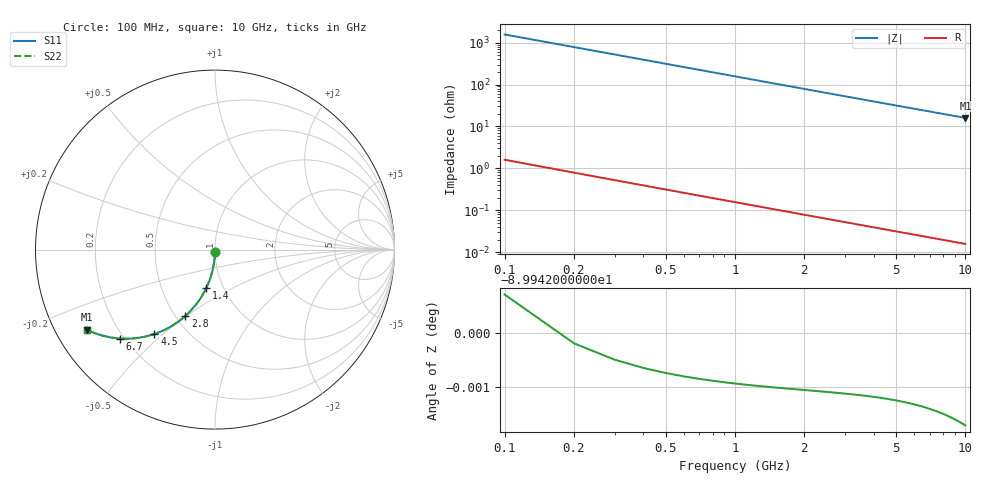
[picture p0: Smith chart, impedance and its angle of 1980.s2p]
# Hz S RI R 50.00
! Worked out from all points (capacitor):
!   100 points, 100 MHz to 10 GHz, reference 50 ohm
!   read as one part in shunt: C = 1.02 pF near 100 MHz
!   lowest |Z| = 16 ohm at 10 GHz (marker M1)
!   S11 on the Smith chart (normalised r, x): 100 MHz: 1.00, -0.03; 1.4 GHz: 0.83, -0.37; 2.8 GHz: 0.56, -0.49; 4.5 GHz: 0.33, -0.47; 6.7 GHz: 0.18, -0.38; 10 GHz: 0.09, -0.29
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1e8  -0.000264 -0.0159  0.9997 -0.016  0.9997 -0.016  -0.000264 -0.0159
2e8  -0.00104 -0.0318  0.9989 -0.032  0.9989 -0.032  -0.00104 -0.0318
3e8  -0.00233 -0.0477  0.9977 -0.048  0.9977 -0.048  -0.00233 -0.0477
4e8  -0.00412 -0.0634  0.9959 -0.0638  0.9959 -0.0638  -0.00412 -0.0634
5e8  -0.00641 -0.0791  0.9936 -0.0796  0.9936 -0.0796  -0.00641 -0.0791
6e8  -0.00918 -0.0946  0.9908 -0.0952  0.9908 -0.0952  -0.00918 -0.0946
7e8  -0.0124 -0.11  0.9875 -0.1107  0.9875 -0.1107  -0.0124 -0.11
9e8  -0.0203 -0.1403  0.9796 -0.1412  0.9796 -0.1412  -0.0203 -0.1403
1.1e9  -0.03 -0.1697  0.9699 -0.1708  0.9699 -0.1708  -0.03 -0.1697
1.4e9  -0.0477 -0.2119  0.9523 -0.2133  0.9523 -0.2133  -0.0477 -0.2119
1.8e9  -0.0762 -0.264  0.9238 -0.2658  0.9238 -0.2658  -0.0762 -0.264
2.3e9  -0.1184 -0.3215  0.8815 -0.3238  0.8815 -0.3238  -0.1184 -0.3215
2.8e9  -0.1657 -0.3699  0.8343 -0.3727  0.8343 -0.3727  -0.1657 -0.3699
3.4e9  -0.226 -0.4161  0.774 -0.4194  0.774 -0.4194  -0.226 -0.4161
3.9e9  -0.2771 -0.4451  0.7229 -0.449  0.7229 -0.449  -0.2771 -0.4451
4.5e9  -0.3374 -0.4701  0.6626 -0.4746  0.6626 -0.4746  -0.3374 -0.4701
5.1e9  -0.3949 -0.4858  0.6051 -0.4909  0.6051 -0.4909  -0.3949 -0.4858
5.9e9  -0.4655 -0.4954  0.5344 -0.5013  0.5344 -0.5013  -0.4655 -0.4954
6.7e9  -0.5285 -0.4953  0.4715 -0.5021  0.4715 -0.5021  -0.5285 -0.4953
7.5e9  -0.5836 -0.4887  0.4163 -0.4962  0.4163 -0.4962  -0.5836 -0.4887
8.4e9  -0.637 -0.4761  0.3629 -0.4846  0.3629 -0.4846  -0.637 -0.4761
1e10  -0.7127 -0.4469  0.2872 -0.4571  0.2872 -0.4571  -0.7127 -0.4469
